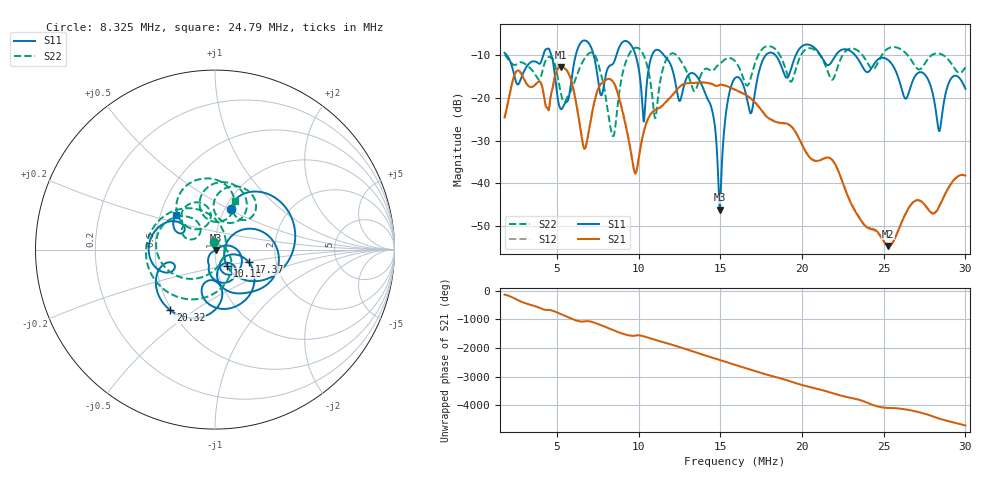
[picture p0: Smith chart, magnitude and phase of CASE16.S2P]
!Agilent Technologies,E5061B,MY49101568,A.02.00
!Date: Wed Mar 01 14:36:37 2023
!Data & Calibration Information:
!Freq	S11:SOLT2(OFF)	S21:SOLT2(OFF)	S12:SOLT2(OFF)	S22:SOLT2(OFF)
# Hz S dB R 50
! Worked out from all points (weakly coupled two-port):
!   1155 points, 1.8 MHz to 30 MHz, reference 50 ohm
!   highest |S21| = -12.83 dB at 5.27 MHz (marker M1); lowest = -54.6 dB at 25.28 MHz (marker M2)
!   lowest |S11| = -46.2 dB at 14.97 MHz (marker M3), VSWR 1.01, Z = 50.3 - j0.389 ohm
!   |S11| at or under -10 dB: 1.918 MHz to 4.162 MHz (2.243 MHz wide, 73.8 % of centre); 11.54 MHz to 17.79 MHz (6.251 MHz wide, 42.6 % of centre); 23.25 MHz to end of sweep (the widest 3 of 8)
!   |S22| runs from -29.0 to -7.9 dB; largest |S21 - S12| = 0.0039
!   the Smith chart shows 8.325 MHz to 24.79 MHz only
!   S11 on the Smith chart (normalised r, x): 8.325 MHz: 1.07, +0.51; 10.18 MHz: 1.12, -0.20; 17.37 MHz: 1.45, -0.21; 20.32 MHz: 0.49, -0.40; 24.79 MHz: 0.60, +0.25
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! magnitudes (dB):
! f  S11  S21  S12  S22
! 1.8 MHz  -9.5  -24.6  -24.6  -9.9
! 2.606 MHz  -16.9  -13.6  -13.5  -12.0
! 4.488 MHz  -8.5  -23.0  -22.9  -10.5
! 5.27 MHz  -22.6  -12.8  -12.8  -19.4
! 6.516 MHz  -6.9  -29.3  -28.9  -12.0
! 7.396 MHz  -12.7  -19.4  -19.3  -10.6
! 8.325 MHz  -12.3  -15.8  -15.8  -27.8
! 9.742 MHz  -9.2  -37.2  -37.4  -8.4
! 10.18 MHz  -19.0  -30.3  -30.0  -9.1
! 11.21 MHz  -8.8  -22.5  -22.5  -19.2
! 13.9 MHz  -17.2  -16.4  -16.4  -14.0
! 14.97 MHz  -46.2  -17.0  -17.0  -12.1
! 15.9 MHz  -15.4  -18.1  -18.2  -11.4
! 16.85 MHz  -23.6  -20.1  -20.1  -15.5
! 17.37 MHz  -13.9  -22.1  -22.2  -9.7
! 20.32 MHz  -7.5  -33.2  -33.1  -8.5
! 20.62 MHz  -7.9  -34.4  -34.4  -8.5
! 24.79 MHz  -10.7  -52.3  -52.5  -10.6
! 25.28 MHz  -11.2  -54.6  -54.7  -8.4
! 25.31 MHz  -11.3  -54.6  -54.7  -8.4
! 28.39 MHz  -27.8  -45.5  -45.4  -9.6
! 30 MHz  -17.9  -38.2  -38.2  -12.9
